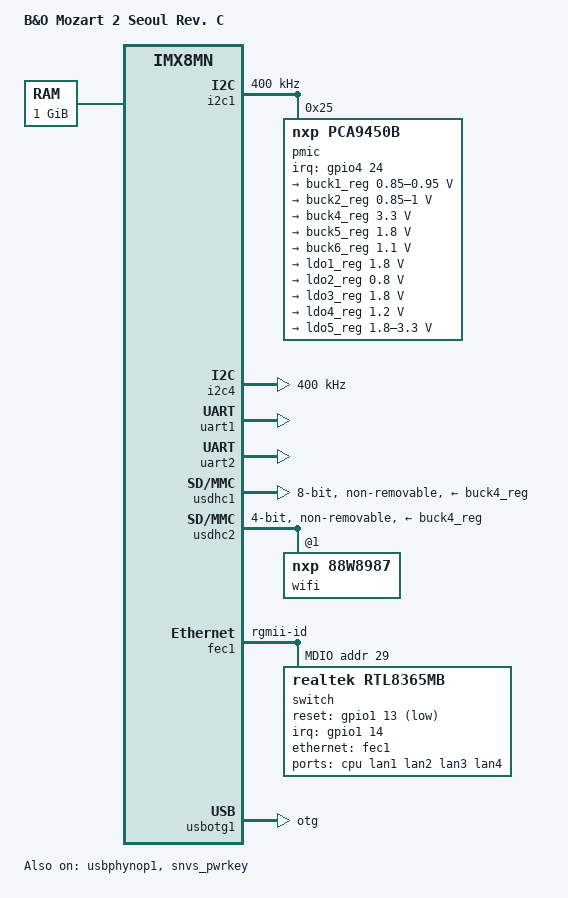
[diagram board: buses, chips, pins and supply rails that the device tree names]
// SPDX-License-Identifier: (GPL-2.0+ OR MIT)

/dts-v1/;

#include <dt-bindings/clock/imx8mn-clock.h>
#include <dt-bindings/gpio/gpio.h>
#include <dt-bindings/interrupt-controller/irq.h>
#include <dt-bindings/input/input.h>
#include <dt-bindings/pwm/pwm.h>
#include "imx8mn.dtsi"

/ {
	model = "B&O Mozart 2 Seoul Rev. C";
	compatible = "beo,mozart2-seoul-revc", "beo,mozart2-seoul",
		     "beo,mozart2", "fsl,imx8mn";

	chosen {
		stdout-path = &uart1;
	};

	memory@40000000 {
		device_type = "memory";
		reg = <0x00000000 0x40000000 0x00000000 0x40000000>;
	};
};

/* === 时钟 === */
&clk_ext1 {
	clock-frequency = <12288000>;
};

&clk_ext2 {
	clock-frequency = <24000000>;
};

&clk_ext3 {
	clock-frequency = <12000000>;
};

&clk_ext4 {
	clock-frequency = <24576000>;
};

&osc_32k {
	clock-frequency = <32768>;
};

&osc_24m {
	clock-frequency = <24000000>;
};

/* === A53 核心电源 === */
&A53_0 {
	cpu-supply = <&buck2_reg>;
};

&A53_1 {
	cpu-supply = <&buck2_reg>;
};

&A53_2 {
	cpu-supply = <&buck2_reg>;
};

&A53_3 {
	cpu-supply = <&buck2_reg>;
};

/* === I2C1 - PMIC 总线 === */
&i2c1 {
	clock-frequency = <400000>;
	pinctrl-names = "default";
	pinctrl-0 = <&pinctrl_i2c1>;
	status = "okay";

	pmic: pmic@25 {
		compatible = "nxp,pca9450b";
		reg = <0x25>;
		pinctrl-names = "default";
		pinctrl-0 = <&pinctrl_pmicirq>;
		interrupt-parent = <&gpio4>;
		interrupts = <24 IRQ_TYPE_LEVEL_LOW>;

		regulators {
			buck1_reg: BUCK1 {
				regulator-name = "VDD_SOC";
				regulator-min-microvolt = <850000>;
				regulator-max-microvolt = <950000>;
				regulator-boot-on;
				regulator-always-on;
			};

			buck2_reg: BUCK2 {
				regulator-name = "VDD_ARM_0V9";
				regulator-min-microvolt = <850000>;
				regulator-max-microvolt = <1000000>;
				regulator-boot-on;
				regulator-always-on;
			};

			buck4_reg: BUCK4 {
				regulator-name = "VDD_3V3";
				regulator-min-microvolt = <3300000>;
				regulator-max-microvolt = <3300000>;
				regulator-boot-on;
				regulator-always-on;
			};

			buck5_reg: BUCK5 {
				regulator-name = "VDD_1V8";
				regulator-min-microvolt = <1800000>;
				regulator-max-microvolt = <1800000>;
				regulator-boot-on;
				regulator-always-on;
			};

			buck6_reg: BUCK6 {
				regulator-name = "NVCC_DRAM_1V1";
				regulator-min-microvolt = <1100000>;
				regulator-max-microvolt = <1100000>;
				regulator-boot-on;
				regulator-always-on;
			};

			ldo1_reg: LDO1 {
				regulator-name = "NVCC_SNVS_1V8";
				regulator-min-microvolt = <1800000>;
				regulator-max-microvolt = <1800000>;
				regulator-boot-on;
				regulator-always-on;
			};

			ldo2_reg: LDO2 {
				regulator-name = "VDD_SNVS_0V8";
				regulator-min-microvolt = <800000>;
				regulator-max-microvolt = <800000>;
				regulator-boot-on;
				regulator-always-on;
			};

			ldo3_reg: LDO3 {
				regulator-name = "VDDA_1V8";
				regulator-min-microvolt = <1800000>;
				regulator-max-microvolt = <1800000>;
				regulator-boot-on;
				regulator-always-on;
			};

			ldo4_reg: LDO4 {
				regulator-name = "VDD_PHY_1V2";
				regulator-min-microvolt = <1200000>;
				regulator-max-microvolt = <1200000>;
				regulator-boot-on;
				regulator-always-on;
			};

			ldo5_reg: LDO5 {
				regulator-name = "NVCC_SD2";
				regulator-min-microvolt = <1800000>;
				regulator-max-microvolt = <3300000>;
				regulator-boot-on;
				regulator-always-on;
			};
		};
	};
};

/* === I2C4 - 外设总线 === */
&i2c4 {
	clock-frequency = <400000>;
	pinctrl-names = "default";
	pinctrl-0 = <&pinctrl_i2c4>;
	status = "okay";
};

/* === UART1 - 控制台 === */
&uart1 {
	pinctrl-names = "default";
	pinctrl-0 = <&pinctrl_uart1>;
	status = "okay";
};

/* === UART2 - 蓝牙 === */
&uart2 {
	pinctrl-names = "default";
	pinctrl-0 = <&pinctrl_uart2>;
	status = "okay";
};

/* === uSDHC1 - eMMC === */
&usdhc1 {
	pinctrl-names = "default", "state_100mhz", "state_200mhz";
	pinctrl-0 = <&pinctrl_usdhc1>;
	pinctrl-1 = <&pinctrl_usdhc1>;
	pinctrl-2 = <&pinctrl_usdhc1>;
	bus-width = <8>;
	non-removable;
	keep-power-in-suspend;
	wakeup-source;
	vmmc-supply = <&buck4_reg>;
	vqmmc-supply = <&buck5_reg>;
	no-sd;
	no-sdio;
	status = "okay";
};

/* === uSDHC2 - SDIO WiFi === */
&usdhc2 {
	pinctrl-names = "default", "state_100mhz", "state_200mhz";
	pinctrl-0 = <&pinctrl_usdhc2>;
	pinctrl-1 = <&pinctrl_usdhc2_100mhz>;
	pinctrl-2 = <&pinctrl_usdhc2_200mhz>;
	bus-width = <4>;
	vmmc-supply = <&buck4_reg>;
	vqmmc-supply = <&ldo5_reg>;
	no-sd;
	non-removable;
	status = "okay";

	#address-cells = <1>;
	#size-cells = <0>;

	wifi@1 {
		compatible = "nxp,88w8987";
		reg = <1>;
	};
};

/* === uSDHC3 - 禁用 === */
&usdhc3 {
	status = "disabled";
};

/* === 以太网 FEC + RTL8365MB 交换机 === */
&fec1 {
	pinctrl-names = "default";
	pinctrl-0 = <&pinctrl_fec1>;
	phy-mode = "rgmii-id";
	fsl,magic-packet;
	status = "okay";

	mdio: mdio {
		#address-cells = <1>;
		#size-cells = <0>;

		/* Realtek RTL8365MB 交换机 - MDIO 地址 0x1d (29) */
		switch@1d {
			compatible = "realtek,rtl8365mb";
			reg = <0x1d>;
			interrupt-parent = <&gpio1>;
			interrupts = <14 IRQ_TYPE_LEVEL_LOW>;
			reset-gpios = <&gpio1 13 GPIO_ACTIVE_LOW>;
			realtek,disable-leds;

			ports {
				#address-cells = <1>;
				#size-cells = <0>;

				port@0 {
					reg = <0>;
					label = "cpu";
					ethernet = <&fec1>;
					phy-mode = "rgmii-id";

					fixed-link {
						speed = <1000>;
						full-duplex;
					};
				};

				port@1 {
					reg = <1>;
					label = "lan1";
				};

				port@2 {
					reg = <2>;
					label = "lan2";
				};

				port@3 {
					reg = <3>;
					label = "lan3";
				};

				port@4 {
					reg = <4>;
					label = "lan4";
				};
			};
		};
	};
};

/* === USB OTG === */
&usbotg1 {
	pinctrl-names = "default";
	pinctrl-0 = <&pinctrl_usbotg>;
	dr_mode = "otg";
	status = "okay";
};

&usbphynop1 {
	status = "okay";
};

/* === SNVS 电源按键 === */
&snvs_pwrkey {
	status = "okay";
};

/* === Pinmux 配置（使用从原始 DTB 提取的原始寄存器值） === */
/*
 * 每个 pin 配置为 6 个 u32:
 *   mux_reg, conf_reg, input_reg, mux_mode, input_val, config
 *
 * 注：这些原始值保证与出厂固件 100% 一致
 * 建议在正式内核树中替换为 MX8MN_IOMUXC_* 宏以提高可读性
 */
&iomuxc {
	pinctrl_fec1: fec1grp {
		fsl,pins = <
			0x0068 0x02d0 0x0000 0x00 0x00 0x0003
			0x006c 0x02d4 0x04c0 0x00 0x01 0x0003
			0x0080 0x02e8 0x0000 0x00 0x00 0x001f
			0x0084 0x02ec 0x0000 0x00 0x00 0x001f
			0x007c 0x02e4 0x0000 0x00 0x00 0x001f
			0x0078 0x02e0 0x0000 0x00 0x00 0x001f
			0x0074 0x02dc 0x0000 0x00 0x00 0x001f
			0x0070 0x02d8 0x0000 0x00 0x00 0x001f
			0x0088 0x02f0 0x0574 0x00 0x00 0x0091
			0x008c 0x02f4 0x0000 0x00 0x00 0x0091
			0x0090 0x02f8 0x057c 0x00 0x00 0x0091
			0x0094 0x02fc 0x0554 0x00 0x00 0x0091
			0x0098 0x0300 0x0000 0x00 0x00 0x0091
			0x009c 0x0304 0x0000 0x00 0x00 0x0091
		>;
	};

	pinctrl_eth_switch: eth-switch-grp {
		fsl,pins = <
			0x0048 0x02b0 0x0000 0x00 0x00 0x0000
			0x01ec 0x0454 0x0000 0x05 0x00 0x0000
		>;
	};

	pinctrl_i2c1: i2c1grp {
		fsl,pins = <
			0x0214 0x047c 0x055c 0x00 0x00 0x400001c3
			0x0218 0x0480 0x056c 0x00 0x00 0x400001c3
		>;
	};

	pinctrl_i2c4: i2c4grp {
		fsl,pins = <
			0x022c 0x0494 0x05d4 0x00 0x00 0x400001c3
			0x0230 0x0498 0x058c 0x00 0x00 0x400001c3
		>;
	};

	pinctrl_pmicirq: pmicirqgrp {
		fsl,pins = <
			0x0034 0x029c 0x0000 0x00 0x00 0x0141
		>;
	};

	pinctrl_uart1: uart1grp {
		fsl,pins = <
			0x0234 0x049c 0x04f4 0x00 0x00 0x0140
			0x0238 0x04a0 0x0000 0x00 0x00 0x0140
		>;
	};

	pinctrl_uart2: uart2grp {
		fsl,pins = <
			0x023c 0x04a4 0x04fc 0x00 0x00 0x0140
			0x0240 0x04a8 0x0000 0x00 0x00 0x0140
		>;
	};

	pinctrl_usdhc1: usdhc1grp {
		fsl,pins = <
			0x00a0 0x0308 0x0000 0x00 0x00 0x0196
			0x00a4 0x030c 0x0000 0x00 0x00 0x01d6
			0x00a8 0x0310 0x0000 0x00 0x00 0x01d6
			0x00ac 0x0314 0x0000 0x00 0x00 0x01d6
			0x00b0 0x0318 0x0000 0x00 0x00 0x01d6
			0x00b4 0x031c 0x0000 0x00 0x00 0x01d6
		>;
	};

	pinctrl_usdhc1_gpio: usdhc1-gpiogrp {
		fsl,pins = <
			0x00c8 0x0330 0x0000 0x05 0x00 0x0160
			0x0028 0x0290 0x0000 0x00 0x00 0x0160
		>;
	};

	pinctrl_usdhc2: usdhc2grp {
		fsl,pins = <
			0x00d4 0x033c 0x0000 0x00 0x00 0x0190
			0x00d8 0x0340 0x0000 0x00 0x00 0x01d0
			0x00dc 0x0344 0x0000 0x00 0x00 0x01d0
			0x00e0 0x0348 0x0000 0x00 0x00 0x01d0
			0x00e4 0x034c 0x0000 0x00 0x00 0x01d0
			0x00e8 0x0350 0x0000 0x00 0x00 0x01d0
		>;
	};

	pinctrl_usdhc2_100mhz: usdhc2-100mhzgrp {
		fsl,pins = <
			0x00d4 0x033c 0x0000 0x00 0x00 0x0194
			0x00d8 0x0340 0x0000 0x00 0x00 0x01d4
			0x00dc 0x0344 0x0000 0x00 0x00 0x01d4
			0x00e0 0x0348 0x0000 0x00 0x00 0x01d4
			0x00e4 0x034c 0x0000 0x00 0x00 0x01d4
			0x00e8 0x0350 0x0000 0x00 0x00 0x01d4
		>;
	};

	pinctrl_usdhc2_200mhz: usdhc2-200mhzgrp {
		fsl,pins = <
			0x00d4 0x033c 0x0000 0x00 0x00 0x0196
			0x00d8 0x0340 0x0000 0x00 0x00 0x01d6
			0x00dc 0x0344 0x0000 0x00 0x00 0x01d6
			0x00e0 0x0348 0x0000 0x00 0x00 0x01d6
			0x00e4 0x034c 0x0000 0x00 0x00 0x01d6
			0x00e8 0x0350 0x0000 0x00 0x00 0x01d6
		>;
	};

	pinctrl_usbotg: usbotg-grp {
		fsl,pins = <
			0x0050 0x02b8 0x0000 0x00 0x00 0x0156
		>;
	};
};
